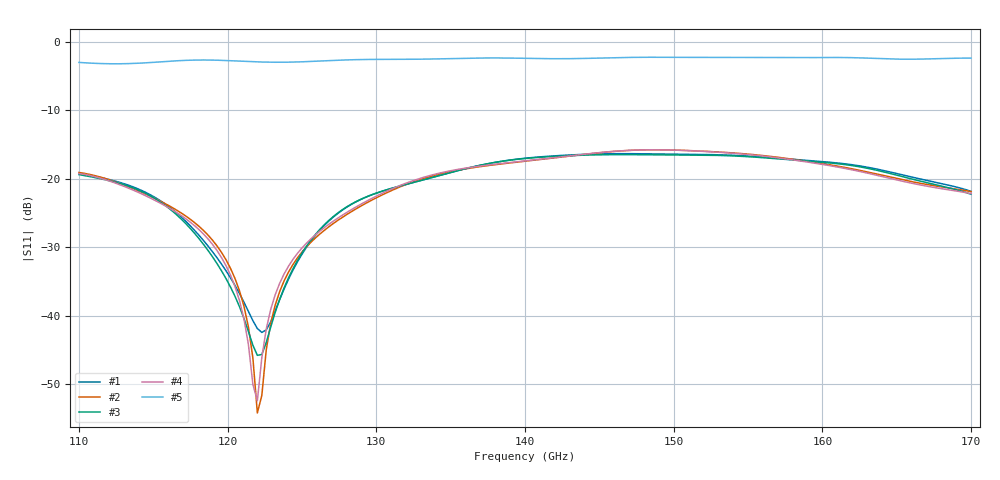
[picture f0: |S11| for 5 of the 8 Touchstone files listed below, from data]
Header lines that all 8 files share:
! Touchstone 1.1 file saved by VNA.EXE V1.65 (www.ke5fx.com/gpib/readme.htm)
!  Source: HP8510C.07.10: Mar 30  1995
!  Min freq: 1.100000E+011 Hz
!  Max freq: 1.700000E+011 Hz
!  Points: 201
!  Params: S11
# GHZ S MA R 50
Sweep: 110 GHz to 170 GHz
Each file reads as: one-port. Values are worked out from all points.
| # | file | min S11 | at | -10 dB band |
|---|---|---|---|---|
| 1 | 20230816_20230801_1.S1P | -42.4 dB | 122.3 GHz | over 60 GHz wide |
| 2 | 20230816_20230801_2.S1P | -54.2 dB | 122 GHz | over 60 GHz wide |
| 3 | 20230816_20230801_3.S1P | -45.8 dB | 122 GHz | over 60 GHz wide |
| 4 | 20230816_20230801_4.S1P | -52.4 dB | 122 GHz | over 60 GHz wide |
| 5 | 20230816_20230801_ref1.S1P | -3.2 dB | 112.4 GHz | - |
| 6 | 20230816_20230801_ref2.S1P | -3.2 dB | 112.4 GHz | - |
| 7 | 20230816_20230801_ref3.S1P | -3.2 dB | 112.4 GHz | - |
| 8 | 20230816_20230801_ref4.S1P | -3.2 dB | 112.4 GHz | - |
